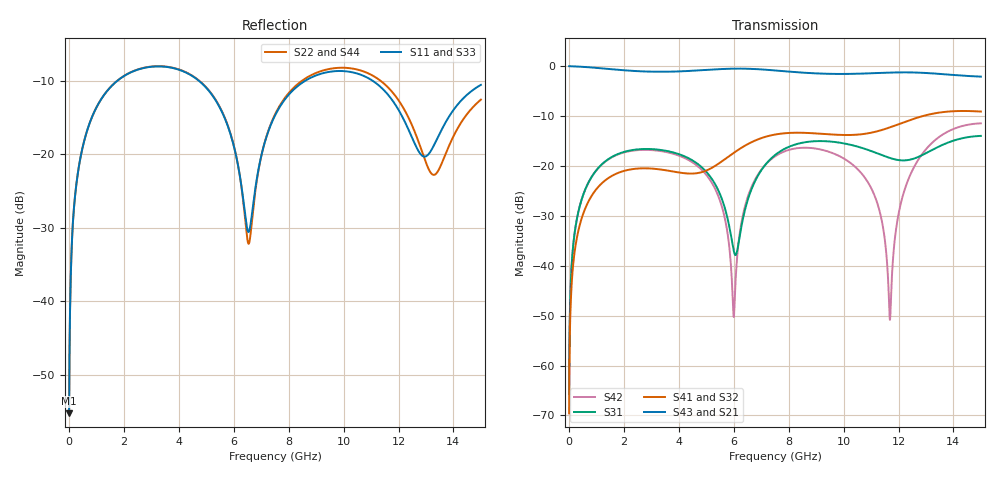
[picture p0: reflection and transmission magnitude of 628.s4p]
! Created with skrf 1.8.0 (http://scikit-rf.org).
# GHz S RI R 50.0
!freq ReS11 ImS11 ReS12 ImS12 ReS13 ImS13
! ReS14 ImS14
! ReS21 ImS21 ReS22 ImS22 ReS23 ImS23
! ReS24 ImS24
! ReS31 ImS31 ReS32 ImS32 ReS33 ImS33
! ReS34 ImS34
! ReS41 ImS41 ReS42 ImS42 ReS43 ImS43
! ReS44 ImS44
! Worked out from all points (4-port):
!   2499 points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, 5 MHz to 15 GHz, reference 50 ohm
!   strongest paths, dB at 5 MHz, 3.476 GHz, 7.19 GHz, 11.1 GHz, 15 GHz:
!     S43: 0.0, -1.1, -0.7, -1.4, -2.1
!     S21: 0.0, -1.1, -0.7, -1.4, -2.1
!     S41: -69.6, -20.8, -14.1, -13.2, -9.1
!     S32: -69.6, -20.8, -14.1, -13.2, -9.1
!     S31: -65.7, -16.9, -19.5, -17.2, -14.0
!     S42: -65.7, -17.1, -19.5, -25.5, -11.5
!   lowest |S11| = -55.2 dB at 5 MHz (marker M1), VSWR 1.00, Z = 50.1 + j0.105 ohm
!   |S11| at or under -10 dB: start of sweep to 1.754 GHz; 4.738 GHz to 8.593 GHz (3.856 GHz wide, 57.8 % of centre); 11.07 GHz to end of sweep
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0.005  0.00138 0.00105  0.9986 -0.00268  6.73e-05 0.000512  -6.55e-05 -0.000326
       0.9986 -0.00268  0.00138 0.00105  -6.55e-05 -0.000326  6.72e-05 0.000512
       6.73e-05 0.000512  -6.55e-05 -0.000326  0.00138 0.00105  0.9986 -0.00268
       -6.55e-05 -0.000326  6.72e-05 0.000512  0.9986 -0.00268  0.00138 0.00105
1.619545  0.2306 0.1928  0.6312 -0.6784  0.1079 0.064  -0.0789 -0.0187
          0.6312 -0.6784  0.2318 0.1921  -0.0789 -0.0187  0.104 0.0683
          0.1079 0.064  -0.0789 -0.0187  0.2306 0.1928  0.6312 -0.6784
          -0.0789 -0.0187  0.104 0.0683  0.6312 -0.6784  0.2319 0.1921
5.996248  0.0561 -0.1007  -0.8901 -0.3109  -0.0126 -0.00664  -0.041 0.1286
          -0.8901 -0.3109  0.051 -0.1043  -0.0397 0.129  -0.00295 -0.000854
          -0.0126 -0.00664  -0.0397 0.129  0.0575 -0.1002  -0.89 -0.3111
          -0.041 0.1286  -0.00295 -0.000854  -0.89 -0.3111  0.0497 -0.1047
6.546478  0.0297 0.000766  -0.9388 -0.0484  0.00387 0.0489  -0.00479 0.1673
          -0.9388 -0.0484  0.0247 -0.000162  -0.00316 0.1673  0.00586 0.0519
          0.00387 0.0489  -0.00316 0.1673  0.0314 0.000708  -0.9388 -0.0486
          -0.00479 0.1673  0.00586 0.0519  -0.9388 -0.0486  0.0229 -0.000189
10.22926  0.3629 -0.0367  0.0556 0.8338  0.0932 -0.1343  0.1952 -0.0597
          0.0556 0.8338  0.3818 -0.0573  0.1947 -0.0625  0.099 -0.0437
          0.0932 -0.1343  0.1947 -0.0625  0.3622 -0.0379  0.0553 0.834
          0.1952 -0.0597  0.099 -0.0437  0.0553 0.834  0.3818 -0.0555
11.68612  0.204 -0.1371  0.5783 0.6381  -0.0751 -0.0938  0.1773 -0.1667
          0.5783 0.6381  0.2107 -0.1801  0.1746 -0.1696  0.00263 0.00114
          -0.0751 -0.0938  0.1746 -0.1696  0.2045 -0.1373  0.5778 0.6385
          0.1773 -0.1667  0.00263 0.00114  0.5778 0.6385  0.2112 -0.1798
15  0.2804 0.099  0.5761 -0.5299  0.1733 0.0997  -0.2838 -0.2059
    0.5761 -0.5299  0.2152 0.0966  -0.2882 -0.2013  0.2632 0.0458
    0.1733 0.0997  -0.2882 -0.2013  0.2761 0.0931  0.5788 -0.5294
    -0.2838 -0.2059  0.2632 0.0458  0.5788 -0.5294  0.2108 0.0952
